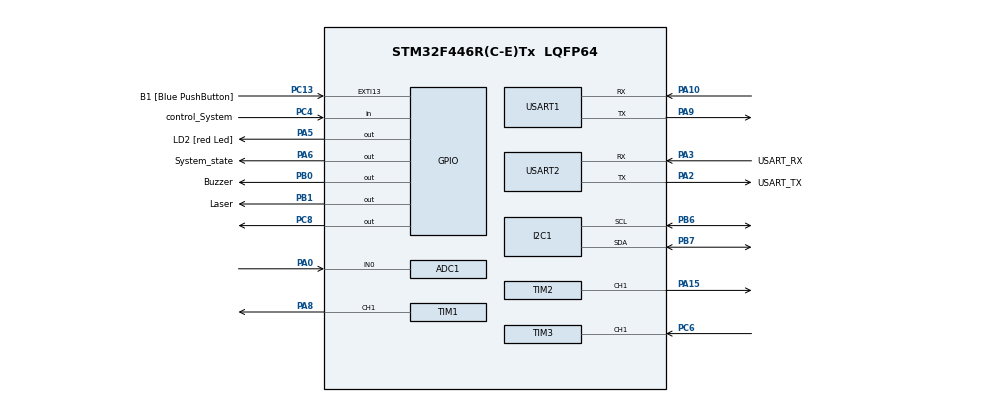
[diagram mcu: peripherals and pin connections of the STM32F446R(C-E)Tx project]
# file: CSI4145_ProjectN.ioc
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ADC1.Channel-0\#ChannelRegularConversion=ADC_CHANNEL_0
ADC1.NbrOfConversionFlag=1
ADC1.Rank-0\#ChannelRegularConversion=1
ADC1.SamplingTime-0\#ChannelRegularConversion=ADC_SAMPLETIME_112CYCLES
ADC1.master=1
FREERTOS.Tasks01=defaultTask,24,128,StartDefaultTask,Default,NULL,Dynamic,NULL,NULL
I2C1.I2C_Mode=I2C_Fast
Mcu.Family=STM32F4
Mcu.Name=STM32F446R(C-E)Tx
Mcu.Package=LQFP64
NVIC.PriorityGroup=NVIC_PRIORITYGROUP_4
NVIC.TIM3_IRQn=true\:5\:0\:false\:false\:true\:true\:true\:true\:true
NVIC.TIM6_DAC_IRQn=true\:15\:0\:false\:false\:true\:false\:false\:true\:true
NVIC.TimeBase=TIM6_DAC_IRQn
NVIC.TimeBaseIP=TIM6
NVIC.USART1_IRQn=true\:5\:0\:false\:false\:true\:true\:true\:true\:true
PA0-WKUP.Signal=ADCx_IN0
PA10.Mode=Asynchronous
PA10.Signal=USART1_RX
PA13.GPIO_Label=TMS
PA13.Mode=Serial_Wire
PA13.Signal=SYS_JTMS-SWDIO
PA14.GPIO_Label=TCK
PA14.Mode=Serial_Wire
PA14.Signal=SYS_JTCK-SWCLK
PA15.Signal=S_TIM2_CH1_ETR
PA2.GPIO_Label=USART_TX
PA2.Mode=Asynchronous
PA2.Signal=USART2_TX
PA3.GPIO_Label=USART_RX
PA3.Mode=Asynchronous
PA3.Signal=USART2_RX
PA5.GPIO_Label=LD2 [red Led]
PA5.Signal=GPIO_Output
PA6.GPIO_Label=System_state
PA6.Signal=GPIO_Output
PA8.Signal=S_TIM1_CH1
PA9.Mode=Asynchronous
PA9.Signal=USART1_TX
PB0.GPIO_Label=Buzzer
PB0.Signal=GPIO_Output
PB1.GPIO_Label=Laser
PB1.Signal=GPIO_Output
PB3.GPIO_Label=SWO
PB3.Signal=SYS_JTDO-SWO
PB6.Mode=I2C
PB6.Signal=I2C1_SCL
PB7.Mode=I2C
PB7.Signal=I2C1_SDA
PC13.GPIO_Label=B1 [Blue PushButton]
PC13.GPIO_ModeDefaultEXTI=GPIO_MODE_IT_FALLING
PC13.Signal=GPXTI13
PC14-OSC32_IN.Mode=LSE-External-Oscillator
PC14-OSC32_IN.Signal=RCC_OSC32_IN
PC15-OSC32_OUT.Mode=LSE-External-Oscillator
PC15-OSC32_OUT.Signal=RCC_OSC32_OUT
PC4.GPIO_Label=control_System
PC4.Signal=GPIO_Input
PC6.Signal=S_TIM3_CH1
PC8.Signal=GPIO_Output
PH0-OSC_IN.Mode=HSE-External-Oscillator
PH0-OSC_IN.Signal=RCC_OSC_IN
PH1-OSC_OUT.Mode=HSE-External-Oscillator
PH1-OSC_OUT.Signal=RCC_OSC_OUT
ProjectManager.HeapSize=0x200
ProjectManager.StackSize=0x400
ProjectManager.TargetToolchain=STM32CubeIDE
RCC.48MHZClocksFreq_Value=84000000
RCC.AHBFreq_Value=84000000
RCC.APB1CLKDivider=RCC_HCLK_DIV2
RCC.APB1Freq_Value=42000000
RCC.APB1TimFreq_Value=84000000
RCC.APB2Freq_Value=84000000
RCC.APB2TimFreq_Value=84000000
RCC.CortexFreq_Value=84000000
RCC.FLatency-AdvancedSettings=FLASH_LATENCY_2
RCC.HCLKFreq_Value=84000000
RCC.HSE_VALUE=8000000
RCC.HSI_VALUE=16000000
RCC.PLLN=336
RCC.PLLP=RCC_PLLP_DIV4
RCC.SYSCLKFreq_VALUE=84000000
RCC.SYSCLKSource=RCC_SYSCLKSOURCE_PLLCLK
RCC.USBFreq_Value=168000000
RCC.VCOOutputFreq_Value=336000000
SH.ADCx_IN0.0=ADC1_IN0,IN0
SH.S_TIM1_CH1.0=TIM1_CH1,PWM Generation1 CH1
SH.S_TIM2_CH1_ETR.0=TIM2_CH1,PWM Generation1 CH1
SH.S_TIM3_CH1.0=TIM3_CH1,Input_Capture1_from_TI1
TIM1.Channel-PWM\ Generation1\ CH1=TIM_CHANNEL_1
TIM1.Period=19999
TIM1.Prescaler=83
TIM1.Pulse-PWM\ Generation1\ CH1=1500
TIM2.Channel-PWM\ Generation1\ CH1=TIM_CHANNEL_1
TIM2.Period=19999
TIM2.Prescaler=83
TIM2.Pulse-PWM\ Generation1\ CH1=1500
TIM3.Channel-Input_Capture1_from_TI1=TIM_CHANNEL_1
TIM3.Period=0xffff-1
TIM3.Prescaler=72-1
USART1.VirtualMode=VM_ASYNC
USART2.VirtualMode=VM_ASYNC
VP_FREERTOS_VS_CMSIS_V2.Mode=CMSIS_V2
VP_SYS_VS_tim6.Mode=TIM6
VP_TIM1_VS_ClockSourceINT.Mode=Internal
VP_TIM2_VS_ClockSourceINT.Mode=Internal
board=NUCLEO-F446RE

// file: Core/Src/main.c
/* USER CODE BEGIN Header */
/**
******************************************************************************
* @file           : main.c
* @brief          : Main program body
******************************************************************************
* @attention
*
* Copyright (c) 2025 STMicroelectronics.
* All rights reserved.
*
* This software is licensed under terms that can be found in the LICENSE file
* in the root directory of this software component.
* If no LICENSE file comes with this software, it is provided AS-IS.
*
******************************************************************************
*/
/* USER CODE END Header */
#include "main.h"
#include "cmsis_os.h"
#include "adc.h"
#include "i2c.h"
#include "tim.h"
#include "usart.h"
#include "gpio.h"
#include "stdio.h"
#include "ssd1306.h"
#include "fonts.h"
#include "esp8266.h"
/* USER CODE BEGIN PD */
#define ALARM_OFF 0
#define ALARM_ON 1
#define SYSTEM_OFF 0
#define SYSTEM_ON 1
#define DOOR_OPEN 0
#define DOOR_CLOSED 1

#define TRIG_PIN GPIO_PIN_8
#define TRIG_PORT GPIOC
/* USER CODE END PD */
int alarm_state = ALARM_OFF;
int light_value = -1;
volatile int system_state= SYSTEM_OFF;
int door_state= DOOR_OPEN;

uint32_t IC_Val1 = 0;
uint32_t IC_Val2 = 0;
uint32_t Difference = 0;
uint8_t Is_First_Captured = 0;  // is the first value captured ?
uint8_t Distance  = 0;

/* Definitions for the Button Task */
osThreadId_t TaskButtonHandle;
const osThreadAttr_t TaskButton_attributes = {
.name = "TaskButton",
.stack_size = 128 * 4,
.priority = (osPriority_t) osPriorityNormal,
};
osThreadId_t TaskSystemButtonHandle;
const osThreadAttr_t TaskSystemButton_attributes = {
.name = "TaskSystemButton",
.stack_size = 128 * 4,
.priority = (osPriority_t) osPriorityNormal,
};
/* Definitions for the LDR Task */
osThreadId_t TaskLDRHandle;
const osThreadAttr_t TaskLDR_attributes = {
.name = "TaskLDR",
.stack_size = 128 * 4,
.priority = (osPriority_t) osPriorityNormal,
};
/* Definitions for the Buzzer Task */
osThreadId_t TaskBuzzerHandle;
const osThreadAttr_t TaskBuzzer_attributes = {
.name = "TaskBuzzer",
.stack_size = 128 * 4,
.priority = (osPriority_t) osPriorityNormal,
};
/* Definitions for the LED Task */
osThreadId_t TaskLedHandle;
const osThreadAttr_t TaskLed_attributes = {
.name = "TaskLed",
.stack_size = 128 * 4,
.priority = (osPriority_t) osPriorityNormal,
};
/* Definitions for the Servo Task */
osThreadId_t TaskServoHandle;
const osThreadAttr_t TaskServo_attributes = {
.name = "TaskServo",
.stack_size = 128 * 4,
.priority = (osPriority_t) osPriorityNormal,
};
osThreadId_t TaskLedSystemHandle;
const osThreadAttr_t StartTaskSystemLed_attributes = {
.name = "TaskSystemLed",
.stack_size = 128 * 4,
.priority = (osPriority_t) osPriorityNormal,
};
osThreadId_t TaskLaserHandle;
const osThreadAttr_t StartTaskLaser_attributes = {
.name = "TaskLaser",
.stack_size = 128 * 4,
.priority = (osPriority_t) osPriorityNormal,
};
osThreadId_t TaskUpdateWebHandle;
const osThreadAttr_t StartTaskUpdateWeb_attributes = {
.name = "TaskUpdateWeb",
.stack_size = 1028 * 4,
.priority = (osPriority_t) osPriorityNormal,
};
osThreadId_t TaskDistanceHandle;
const osThreadAttr_t StartTaskDistance_attributes = {
.name = "TaskDistance",
.stack_size = 1028 * 4,
.priority = (osPriority_t) 25,
};
osMutexId_t systemStateMutex;
const osMutexAttr_t systemStateMutex_attributes = {
   .name = "systemStateMutex"
};
void SystemClock_Config(void);
void MX_FREERTOS_Init(void);
void delay (uint16_t time);
void HAL_TIM_IC_CaptureCallback(TIM_HandleTypeDef *htim);
void HCSR04_Read (void);
void StartTaskButton(void *argument);
void StartTaskSystemButton(void *argument);
void StartTaskLDR(void *argument);
void StartTaskUpdateWeb(void *argument);
//laser
void StartTaskBuzzer(void *argument);
void StartTaskLed(void *argument);
void StartTaskServo(void *argument);
void StartTaskSystemLed(void *argument);
void StartTaskLaser(void *argument);
void StartTaskDistance(void *argument);
const char *intrusionHTML = "<p style='color:red;'>Intrusion Detected</p>";
const char *regularHTML = "<p style='color:blue;'>System Armed no intrusion</p>";
const char *systemoffHTML = "<p style='color:blue;'>System Disarmed</p>";
const char *localIP =    "172.20.10.2"; //change this to yours
const char *pwd = "chloe1908";
const char *username = "Chloe";

void delay (uint16_t time){
	__HAL_TIM_SET_COUNTER(&htim3, 0);
	while(__HAL_TIM_GET_COUNTER(&htim3) < time);
}

int main(void)
{
/* Reset of all peripherals, Initializes the Flash interface and the Systick. */
HAL_Init();
/* Configure the system clock */
SystemClock_Config();
/* Initialize all configured peripherals */
MX_GPIO_Init();
  MX_USART2_UART_Init();
  MX_I2C1_Init();
  MX_ADC1_Init();
  MX_TIM2_Init();
  MX_USART1_UART_Init();
  MX_TIM1_Init();
  MX_TIM3_Init();
/* USER CODE BEGIN 2 */
SSD1306_Init(); // Initialize OLED display
SSD1306_Clear(); // Clear the display
SSD1306_GotoXY(0, 10); // Set cursor position to (0, 0)
SSD1306_Puts("main", &Font_11x18, 1); // Display simple message
SSD1306_UpdateScreen(); // Update the screen
/* Uncomment the test you want to run */
// test_LDR();
// test_Laser();
// test_Buzzer();
// test_LED();
// test_Servo();
// test_ESP8266();
HAL_TIM_IC_Start_IT(&htim3, TIM_CHANNEL_1);
ESP_Server_Init(username, pwd);

sendHTMLToLocalServer(localIP, regularHTML);
systemStateMutex = osMutexNew(&systemStateMutex_attributes);
if (systemStateMutex == NULL) {
    printf("Failed to create system state mutex\n");
}
// test_Button();
/* USER CODE END 2 */
/* Init scheduler */
osKernelInitialize();
/* Call init function for freertos objects (in freertos.c) */
MX_FREERTOS_Init();
TaskButtonHandle = osThreadNew(StartTaskButton, NULL, &TaskButton_attributes);
TaskSystemButtonHandle = osThreadNew(StartTaskSystemButton, NULL, &TaskSystemButton_attributes);
TaskLDRHandle = osThreadNew(StartTaskLDR, NULL, &TaskLDR_attributes);
//laser
TaskBuzzerHandle = osThreadNew(StartTaskBuzzer, NULL, &TaskBuzzer_attributes);
TaskLedHandle = osThreadNew(StartTaskLed, NULL, &TaskLed_attributes);
TaskServoHandle = osThreadNew(StartTaskServo, NULL, &TaskServo_attributes);
TaskLedSystemHandle = osThreadNew(StartTaskSystemLed, NULL, &StartTaskSystemLed_attributes);
TaskLaserHandle = osThreadNew(StartTaskLaser, NULL, &StartTaskLaser_attributes);
TaskUpdateWebHandle = osThreadNew(StartTaskUpdateWeb, NULL, &StartTaskUpdateWeb_attributes);
TaskDistanceHandle = osThreadNew(StartTaskDistance, NULL, &StartTaskDistance_attributes);
/* Start scheduler */
osKernelStart();
/* We should never get here as control is now taken by the scheduler */
/* Infinite loop */
while (1)
{
}
}
void SystemClock_Config(void)
{
RCC_OscInitTypeDef RCC_OscInitStruct = {0};
RCC_ClkInitTypeDef RCC_ClkInitStruct = {0};
/** Configure the main internal regulator output voltage
*/
__HAL_RCC_PWR_CLK_ENABLE();
__HAL_PWR_VOLTAGESCALING_CONFIG(PWR_REGULATOR_VOLTAGE_SCALE3);
/** Initializes the RCC Oscillators according to the specified parameters
* in the RCC_OscInitTypeDef structure.
*/
RCC_OscInitStruct.OscillatorType = RCC_OSCILLATORTYPE_HSI;
RCC_OscInitStruct.HSIState = RCC_HSI_ON;
RCC_OscInitStruct.HSICalibrationValue = RCC_HSICALIBRATION_DEFAULT;
RCC_OscInitStruct.PLL.PLLState = RCC_PLL_ON;
RCC_OscInitStruct.PLL.PLLSource = RCC_PLLSOURCE_HSI;
RCC_OscInitStruct.PLL.PLLM = 16;
RCC_OscInitStruct.PLL.PLLN = 336;
RCC_OscInitStruct.PLL.PLLP = RCC_PLLP_DIV4;
RCC_OscInitStruct.PLL.PLLQ = 2;
RCC_OscInitStruct.PLL.PLLR = 2;
if (HAL_RCC_OscConfig(&RCC_OscInitStruct) != HAL_OK)
{
  Error_Handler();
}
/** Initializes the CPU, AHB and APB buses clocks
*/
RCC_ClkInitStruct.ClockType = RCC_CLOCKTYPE_HCLK|RCC_CLOCKTYPE_SYSCLK
                            |RCC_CLOCKTYPE_PCLK1|RCC_CLOCKTYPE_PCLK2;
RCC_ClkInitStruct.SYSCLKSource = RCC_SYSCLKSOURCE_PLLCLK;
RCC_ClkInitStruct.AHBCLKDivider = RCC_SYSCLK_DIV1;
RCC_ClkInitStruct.APB1CLKDivider = RCC_HCLK_DIV2;
RCC_ClkInitStruct.APB2CLKDivider = RCC_HCLK_DIV1;
if (HAL_RCC_ClockConfig(&RCC_ClkInitStruct, FLASH_LATENCY_2) != HAL_OK)
{
  Error_Handler();
}
}
void HAL_TIM_PeriodElapsedCallback(TIM_HandleTypeDef *htim)
{
if (htim->Instance == TIM6) {
  HAL_IncTick();
}
}
void StartTaskButton(void *argument) {
	for(;;)
	{
		// Check if PC13 button is pressed (Active LOW)
		if (HAL_GPIO_ReadPin(GPIOC, B1_Pin) == GPIO_PIN_RESET && system_state == SYSTEM_ON) {
			HAL_Delay(50); // Debounce delay
			// Toggle LED (PA5)
			alarm_state = ALARM_OFF;
			// Wait for button release
			while (HAL_GPIO_ReadPin(GPIOC, B1_Pin) == GPIO_PIN_RESET);
			HAL_Delay(50); // Prevent multiple triggers
		}
	}
}

void StartTaskDistance(void *argument) {
	for(;;)
	{
		 HCSR04_Read();  // Trigger distance measurement
		 HAL_Delay(200);  // Delay to allow sensor to respond

		 char buffer[10];
		 SSD1306_Clear();
		 SSD1306_GotoXY(0, 10);
		 SSD1306_Puts("Distance", &Font_11x18, 1);
		 SSD1306_GotoXY(0, 30);
		 sprintf(buffer, "%d cm", Distance);
		 SSD1306_Puts(buffer, &Font_11x18, 1);
		 SSD1306_UpdateScreen();
		 printf(Distance);
		 if(system_state == SYSTEM_ON && Distance < 5){
			 alarm_state = ALARM_ON;
		 }

		 if(alarm_state == ALARM_OFF){
			 osDelay(2000);
		 }
		 osDelay(500);  // Delay to avoid excessive updates
		}
	}

void StartTaskUpdateWeb(void *argument) {
    int prev_alarm_state = ALARM_OFF;  // Track previous state && prev_alarm_state == ALARM_OFF
    int prev_system_state = SYSTEM_ON;

    for (;;) {
    	printf("Current Alarm State: %d | Previous Alarm State: %d\n", alarm_state, prev_alarm_state);

        if (alarm_state == ALARM_ON && prev_alarm_state == ALARM_OFF) {
            // Alarm just turned ON
            sendHTMLToLocalServer(localIP, intrusionHTML);
        }
        else if (alarm_state == ALARM_OFF && prev_alarm_state == ALARM_ON && system_state== SYSTEM_OFF) {
            // Alarm just turned OFF
            sendHTMLToLocalServer(localIP, systemoffHTML);
        }else if (alarm_state == ALARM_OFF && prev_system_state== SYSTEM_ON && system_state== SYSTEM_OFF) {
            // Alarm just turned OFF
            sendHTMLToLocalServer(localIP, systemoffHTML);
        }else if (alarm_state == ALARM_OFF && prev_alarm_state == ALARM_ON){
        	sendHTMLToLocalServer(localIP, regularHTML);
        }else if (alarm_state == ALARM_OFF && prev_system_state == SYSTEM_OFF && system_state== SYSTEM_ON){
        	sendHTMLToLocalServer(localIP, regularHTML);
        }

        // Update previous state
        prev_alarm_state = alarm_state;
        prev_system_state = system_state;

        osDelay(1000);  // Delay before checking again
    }
}

void StartTaskSystemButton(void *argument) {
   for (;;) {
       if (HAL_GPIO_ReadPin(GPIOC, control_System_Pin) == GPIO_PIN_RESET) {
           HAL_Delay(50); // Debounce delay
           osMutexAcquire(systemStateMutex, osWaitForever); // Lock mutex
           system_state = !system_state;
           if (system_state == SYSTEM_OFF){
               alarm_state = ALARM_OFF;
           }
           osMutexRelease(systemStateMutex); // Release mutex
           // Wait for button release
           while (HAL_GPIO_ReadPin(GPIOC, control_System_Pin) == GPIO_PIN_RESET);
           HAL_Delay(50); // Prevent multiple triggers
       }
   }
}
void StartTaskLDR(void *argument) {
   int local_system_state = SYSTEM_OFF;  // Track the last known state
   for (;;) {
       // Acquire mutex before reading system_state
       osMutexAcquire(systemStateMutex, osWaitForever);
       int current_system_state = system_state;
       osMutexRelease(systemStateMutex);
       // Check if system just turned ON
       if (current_system_state == SYSTEM_ON && local_system_state == SYSTEM_OFF) {
           osDelay(2000);  // Delay before first LDR reading
       }
       // Update local state
       local_system_state = current_system_state;
       if (current_system_state == SYSTEM_ON) {
    	   if(alarm_state == ALARM_OFF){
    	  			 osDelay(200);
    	  		 }
           uint32_t adcValue;
           HAL_ADC_Start(&hadc1);
           HAL_ADC_PollForConversion(&hadc1, HAL_MAX_DELAY);
           adcValue = HAL_ADC_GetValue(&hadc1);
           HAL_ADC_Stop(&hadc1);
           light_value = adcValue;
           if (adcValue < 1500 && system_state == SYSTEM_ON) {
               alarm_state = ALARM_ON;

           }
       }
       osDelay(500);  // Regular delay between reads
   }
}

void StartTaskLaser(void *argument) {
   for(;;) {
       if (system_state == SYSTEM_ON) {
           HAL_GPIO_WritePin(GPIOB, Laser_Pin, GPIO_PIN_RESET);
       } else {
           HAL_GPIO_WritePin(GPIOB, Laser_Pin, GPIO_PIN_SET);
       }
       osDelay(100);
   }
}
/* Test Buzzer (PB0 - GPIO Output) */
void StartTaskBuzzer(void *argument) {
	for(;;)
	{
		if(alarm_state == ALARM_ON){
			HAL_GPIO_WritePin(GPIOB, Buzzer_Pin, GPIO_PIN_SET);  // Buzzer ON
			HAL_Delay(2000);
			HAL_GPIO_WritePin(GPIOB, Buzzer_Pin, GPIO_PIN_RESET); // Buzzer OFF
			HAL_Delay(1000);
		}
// Buzzer ON
	}
}
void StartTaskLed(void *argument) {
	for(;;){
		if(alarm_state==ALARM_ON){
			HAL_GPIO_WritePin(LD2_GPIO_Port, LD2_Pin, GPIO_PIN_SET);
		}else{
			HAL_GPIO_WritePin(LD2_GPIO_Port, LD2_Pin, GPIO_PIN_RESET);
		}
		  // LED ON
	}
}
void StartTaskSystemLed(void *argument) {
   for(;;) {
       if (system_state == SYSTEM_ON) {
           HAL_GPIO_WritePin(GPIOA, System_state_Pin, GPIO_PIN_SET);
       } else {
           HAL_GPIO_WritePin(GPIOA, System_state_Pin, GPIO_PIN_RESET);
       }
       osDelay(100);
   }
}
void StartTaskServo(void *argument) {
	for(;;)
	{

		osDelay(1000);
		 if(alarm_state == ALARM_ON && door_state == DOOR_OPEN) {
		            // Move both servos 90° to the left
		            HAL_TIM_PWM_Start(&htim2, TIM_CHANNEL_1);
		            HAL_TIM_PWM_Start(&htim1, TIM_CHANNEL_1);
		            __HAL_TIM_SET_COMPARE(&htim2, TIM_CHANNEL_1, 1500);  // 90° for first servo
		            __HAL_TIM_SET_COMPARE(&htim1, TIM_CHANNEL_1, 1500);  // 90° for second servo (same direction)
		            HAL_Delay(2000);
		            door_state = DOOR_CLOSED;
		        }
		        else if(alarm_state == ALARM_OFF && door_state == DOOR_CLOSED) {
		            // Move both servos back to 0° (neutral)
		            HAL_TIM_PWM_Start(&htim2, TIM_CHANNEL_1);
		            HAL_TIM_PWM_Start(&htim1, TIM_CHANNEL_1);
		            __HAL_TIM_SET_COMPARE(&htim2, TIM_CHANNEL_1, 500);  // Back to 0° for first servo
		            __HAL_TIM_SET_COMPARE(&htim1, TIM_CHANNEL_1, 2500);   // Back to 0° for second servo (same direction)
		            HAL_Delay(2000);
		            door_state = DOOR_OPEN;
		        }
	}
}

void HAL_TIM_IC_CaptureCallback(TIM_HandleTypeDef *htim) {
    if (htim->Channel == HAL_TIM_ACTIVE_CHANNEL_1) { // If the interrupt is from channel 1
        if (Is_First_Captured == 0) { // If it's the first edge (rising)
            IC_Val1 = HAL_TIM_ReadCapturedValue(htim, TIM_CHANNEL_1); // Read first value
            Is_First_Captured = 1;
            __HAL_TIM_SET_CAPTUREPOLARITY(htim, TIM_CHANNEL_1, TIM_INPUTCHANNELPOLARITY_FALLING); // Switch to falling edge
        } else if (Is_First_Captured == 1) { // If it's the second edge (falling)
            IC_Val2 = HAL_TIM_ReadCapturedValue(htim, TIM_CHANNEL_1); // Read second value
            __HAL_TIM_SET_CAPTUREPOLARITY(htim, TIM_CHANNEL_1, TIM_INPUTCHANNELPOLARITY_RISING); // Reset to rising edge

            // Compute the difference
            if (IC_Val2 > IC_Val1) {
                Difference = IC_Val2 - IC_Val1;
            } else {
                Difference = (0xFFFF - IC_Val1) + IC_Val2;
            }

            Distance = Difference * 0.034 / 2; // Convert to cm

            Is_First_Captured = 0; // Reset flag for next measurement
        }
    }
}

void HCSR04_Read (void) {
    HAL_GPIO_WritePin(TRIG_PORT, TRIG_PIN, GPIO_PIN_SET);  // Set TRIG pin HIGH
    delay(10);  // 10µs pulse
    HAL_GPIO_WritePin(TRIG_PORT, TRIG_PIN, GPIO_PIN_RESET);  // Set TRIG pin LOW

    // Reset first capture flag
    Is_First_Captured = 0;

    // Start the input capture interrupt
    HAL_TIM_IC_Start_IT(&htim3, TIM_CHANNEL_1);
}

void Error_Handler(void)
{
__disable_irq();
while (1)
{
}
}
int _write(int file, char *ptr, int len) {
  HAL_UART_Transmit(&huart2, (uint8_t*) ptr, len, HAL_MAX_DELAY);
  return len;
}
